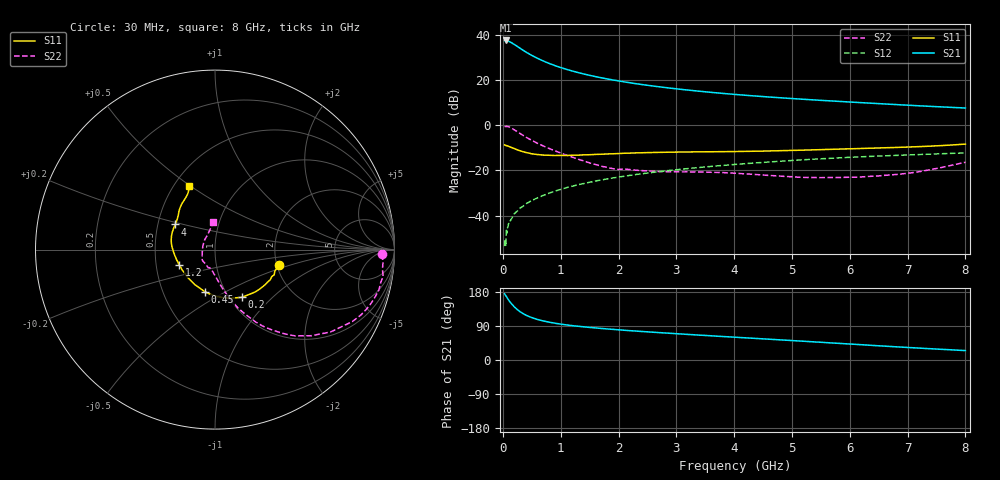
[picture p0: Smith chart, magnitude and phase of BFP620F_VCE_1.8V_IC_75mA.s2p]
! Infineon Technologies  Discrete & RF Semiconductors
! BFP620F
! VCE =  1.8 V,  IC =  75 mA
! Common Emitter S-Parameters:  Dec 2014
# GHz  S  MA  R  50
!  f  S11  S21  S12  S22
! GHz  MAG  ANG  MAG  ANG  MAG  ANG  MAG  ANG
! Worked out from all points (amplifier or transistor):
!   95 points, 30 MHz to 8 GHz, reference 50 ohm
!   highest |S21| = 37.6 dB at 50 MHz (marker M1)
!   |S21| within 3 dB of that: start of sweep to 270.6 MHz
!   unconditionally stable (mu >= 1): 1.596 GHz to end of sweep
!   at 300 MHz: K = 0.57, MSG = 35.4 dB, |S12| = -36.7 dB
!   at 3.3 GHz: K = 1.04, MAG = 16.0 dB, |S12| = -18.9 dB
!   at 8 GHz: K = 1.05, MAG = 8.5 dB, |S12| = -12.2 dB
!   S11 on the Smith chart (normalised r, x): 30 MHz: 2.06, -0.41; 200 MHz: 1.14, -0.67; 450 MHz: 0.81, -0.40; 1.2 GHz: 0.66, -0.12; 4 GHz: 0.62, +0.19; 8 GHz: 0.60, +0.50
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0.03  0.368 -13.5  75.02 174.8  0.0021 76.3  0.9297 -1.6
0.05  0.3542 -19.9  75.77 169.8  0.0021 73.5  0.9394 -6.7
0.08  0.351 -28.5  74.62 162.6  0.0054 86.4  0.9406 -13.7
0.12  0.3328 -40.8  70.59 153.9  0.0072 84.7  0.9024 -22.2
0.15  0.3216 -48.5  67.49 148.2  0.0085 76.7  0.8635 -27.7
0.2  0.3047 -60.7  61.53 139.9  0.011 75.6  0.7905 -35.5
0.25  0.2863 -71.2  55.86 132.9  0.0126 75.2  0.7198 -41.8
0.3  0.2716 -80.5  50.63 127.2  0.0147 74.1  0.6552 -47.2
0.35  0.2599 -89.0  45.95 122.4  0.0161 72.4  0.5969 -51.3
0.45  0.2421 -103.0  38.46 114.9  0.0198 73.0  0.5028 -58.0
0.6  0.2251 -120.0  30.39 106.9  0.0247 72.1  0.3982 -64.9
0.7  0.2189 -128.4  26.55 103.0  0.028 72.4  0.3481 -68.6
0.9  0.214 -142.3  21.04 97.1  0.0348 72.2  0.2721 -74.3
1.2  0.2174 -157.3  15.95 90.7  0.0447 71.4  0.1973 -81.5
1.4  0.2213 -164.9  13.71 87.5  0.0514 70.7  0.1618 -86.5
1.9  0.2338 -179.0  10.12 80.9  0.0681 68.5  0.1096 -102.9
2.7  0.2513 165.7  7.136 72.3  0.0939 63.7  0.0947 -126.8
4  0.262 147.7  4.846 60.3  0.1353 55.5  0.0869 -146.0
4.1  0.2635 146.5  4.733 59.3  0.1384 54.8  0.0854 -147.4
5.4  0.2866 135.0  3.637 47.6  0.1781 45.7  0.0697 179.5
6.7  0.3202 123.7  2.925 35.7  0.2129 35.9  0.0794 135.5
8  0.3835 111.9  2.415 24.8  0.2444 26.6  0.152 95.0
